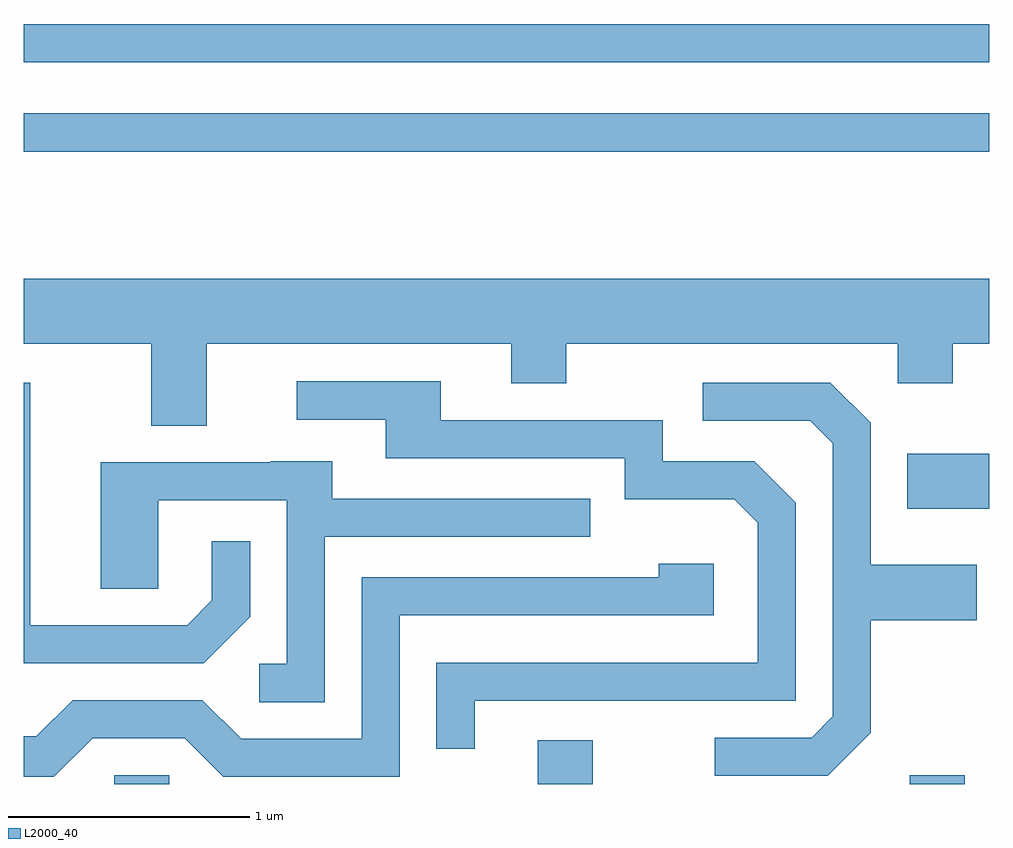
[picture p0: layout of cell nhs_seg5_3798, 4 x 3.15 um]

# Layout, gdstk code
import gdstk
lib = gdstk.Library(unit=1e-6, precision=1e-09)
def R(c, l, rs):  # rectangles x0, y0, x1, y1
    for r in rs: c.add(gdstk.rectangle(r[:2], r[2:], *l))
def P(c, l, *ps):  # polygons
    for p in ps: c.add(gdstk.Polygon(p, *l))
L2000_40 = (2000, 40)

nhs_seg5_3798 = lib.new_cell('nhs_seg5_3798')
R(nhs_seg5_3798, L2000_40, [(297.986,1466.072,298.214,1466.109), (299.741,1466.072,299.969,1466.254), (301.281,1466.072,301.509,1466.109), (301.271,1467.211,301.611,1467.439), (297.611,1468.691,301.611,1468.849), (297.611,1469.061,301.611,1469.219)])
P(nhs_seg5_3798, L2000_40, [(298.369,1467.896),(299.631,1467.896),(299.631,1467.731),(299.859,1467.731),(299.859,1467.896),(301.231,1467.896),(301.231,1467.731),(301.459,1467.731),(301.459,1467.896),(301.611,1467.896),(301.611,1468.164),(297.611,1468.164),(297.611,1467.896),(298.141,1467.896),(298.141,1467.556),(298.369,1467.556)],
  [(299.479,1466.416),(300.809,1466.416),(300.809,1467.237),(300.637,1467.409),(300.259,1467.409),(300.259,1467.579),(299.339,1467.579),(299.339,1467.739),(298.743,1467.739),(298.743,1467.581),(299.111,1467.581),(299.111,1467.421),(300.101,1467.421),(300.101,1467.251),(300.554,1467.251),(300.651,1467.154),(300.651,1466.574),(299.321,1466.574),(299.321,1466.218),(299.479,1466.218)],
  [(298.549,1466.764),(298.549,1467.078),(298.391,1467.078),(298.391,1466.832),(298.289,1466.729),(297.639,1466.729),(297.639,1467.734),(297.611,1467.734),(297.611,1466.571),(298.357,1466.571)],
  [(301.119,1466.284),(301.119,1466.751),(301.559,1466.751),(301.559,1466.979),(301.119,1466.979),(301.119,1467.567),(300.952,1467.734),(300.423,1467.734),(300.423,1467.576),(300.869,1467.576),(300.961,1467.484),(300.961,1466.352),(300.874,1466.264),(300.473,1466.264),(300.473,1466.106),(300.942,1466.106)],
  [(298.859,1467.096),(299.958,1467.096),(299.958,1467.254),(298.889,1467.254),(298.889,1467.409),(298.635,1467.409),(298.635,1467.404),(297.931,1467.404),(297.931,1466.881),(298.169,1466.881),(298.169,1467.246),(298.701,1467.246),(298.701,1466.569),(298.588,1466.569),(298.588,1466.411),(298.859,1466.411)],
  [(297.897,1466.261),(298.279,1466.261),(298.439,1466.101),(299.169,1466.101),(299.169,1466.771),(300.469,1466.771),(300.469,1466.984),(300.241,1466.984),(300.241,1466.929),(299.011,1466.929),(299.011,1466.259),(298.512,1466.259),(298.352,1466.419),(297.814,1466.419),(297.664,1466.269),(297.611,1466.269),(297.611,1466.101),(297.737,1466.101)])

lib.write_gds('nhs_seg5_3798.gds')
